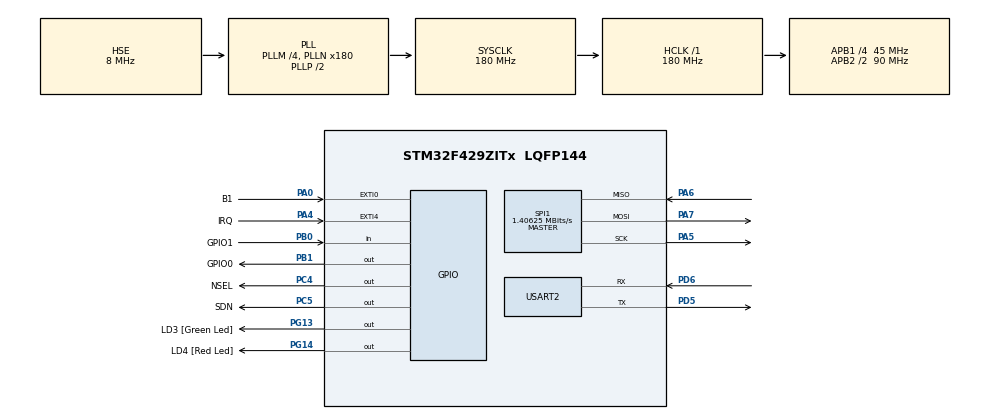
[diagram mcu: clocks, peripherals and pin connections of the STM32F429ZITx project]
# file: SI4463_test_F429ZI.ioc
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Mcu.Family=STM32F4
Mcu.Name=STM32F429ZITx
Mcu.Package=LQFP144
NVIC.EXTI0_IRQn=true\:5\:0\:true\:false\:true\:true\:true\:true
NVIC.EXTI4_IRQn=true\:5\:0\:true\:false\:true\:true\:true\:true
NVIC.PriorityGroup=NVIC_PRIORITYGROUP_4
NVIC.USART2_IRQn=true\:5\:0\:true\:false\:true\:true\:true\:true
PA0/WKUP.GPIO_Label=B1
PA0/WKUP.Signal=GPXTI0
PA13.Mode=Serial_Wire
PA13.Signal=SYS_JTMS-SWDIO
PA14.Mode=Serial_Wire
PA14.Signal=SYS_JTCK-SWCLK
PA4.GPIO_Label=IRQ
PA4.GPIO_ModeDefaultEXTI=GPIO_MODE_IT_FALLING
PA4.GPIO_PuPd=GPIO_NOPULL
PA4.Signal=GPXTI4
PA5.GPIO_PuPd=GPIO_PULLDOWN
PA5.Mode=Full_Duplex_Master
PA5.Signal=SPI1_SCK
PA6.GPIO_PuPd=GPIO_NOPULL
PA6.Mode=Full_Duplex_Master
PA6.Signal=SPI1_MISO
PA7.GPIO_PuPd=GPIO_NOPULL
PA7.Mode=Full_Duplex_Master
PA7.Signal=SPI1_MOSI
PB0.GPIO_Label=GPIO1
PB0.GPIO_PuPd=GPIO_NOPULL
PB0.Signal=GPIO_Input
PB1.GPIO_Label=GPIO0
PB1.Signal=GPIO_Output
PC4.GPIO_Label=NSEL
PC4.GPIO_PuPd=GPIO_PULLUP
PC4.PinState=GPIO_PIN_SET
PC4.Signal=GPIO_Output
PC5.GPIO_Label=SDN
PC5.GPIO_PuPd=GPIO_NOPULL
PC5.Signal=GPIO_Output
PD5.Mode=Asynchronous
PD5.Signal=USART2_TX
PD6.Mode=Asynchronous
PD6.Signal=USART2_RX
PG13.GPIO_Label=LD3 [Green Led]
PG13.GPIO_Mode=GPIO_MODE_OUTPUT_PP
PG13.GPIO_PuPd=GPIO_NOPULL
PG13.GPIO_Speed=GPIO_SPEED_FREQ_LOW
PG13.Signal=GPIO_Output
PG14.GPIO_Label=LD4 [Red Led]
PG14.GPIO_Mode=GPIO_MODE_OUTPUT_PP
PG14.GPIO_PuPd=GPIO_NOPULL
PG14.GPIO_Speed=GPIO_SPEED_FREQ_LOW
PG14.Signal=GPIO_Output
PH0/OSC_IN.Mode=HSE-External-Oscillator
PH0/OSC_IN.Signal=RCC_OSC_IN
PH1/OSC_OUT.Mode=HSE-External-Oscillator
PH1/OSC_OUT.Signal=RCC_OSC_OUT
ProjectManager.HeapSize=0x200
ProjectManager.StackSize=0x400
ProjectManager.TargetToolchain=STM32CubeIDE
RCC.48MHZClocksFreq_Value=51428571.428571425
RCC.AHBFreq_Value=180000000
RCC.APB1CLKDivider=RCC_HCLK_DIV4
RCC.APB1Freq_Value=45000000
RCC.APB1TimFreq_Value=90000000
RCC.APB2CLKDivider=RCC_HCLK_DIV2
RCC.APB2Freq_Value=90000000
RCC.APB2TimFreq_Value=180000000
RCC.CortexFreq_Value=180000000
RCC.HCLKFreq_Value=180000000
RCC.HSE_VALUE=8000000
RCC.HSI_VALUE=16000000
RCC.LSE_VALUE=32768
RCC.PLLM=4
RCC.PLLN=180
RCC.PLLQ=7
RCC.PLLSourceVirtual=RCC_PLLSOURCE_HSE
RCC.SYSCLKFreq_VALUE=180000000
RCC.SYSCLKSource=RCC_SYSCLKSOURCE_PLLCLK
RCC.VCOOutputFreq_Value=360000000
SPI1.BaudRatePrescaler=SPI_BAUDRATEPRESCALER_64
SPI1.CLKPolarity=SPI_POLARITY_LOW
SPI1.CalculateBaudRate=1.40625 MBits/s
SPI1.Direction=SPI_DIRECTION_2LINES
SPI1.Mode=SPI_MODE_MASTER
SPI1.VirtualType=VM_MASTER
TIM1.Prescaler=180-1
TIM2.Prescaler=90-1
USART2.VirtualMode=VM_ASYNC
VP_TIM1_VS_ClockSourceINT.Mode=Internal
VP_TIM2_VS_ClockSourceINT.Mode=Internal
board=STM32F429I-DISC1

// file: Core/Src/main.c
/* USER CODE BEGIN Header */
/**
  ******************************************************************************
  * @file           : main.c
  * @brief          : Main program body
  ******************************************************************************
  * @attention
  *
  * Copyright (c) 2023 STMicroelectronics.
  * All rights reserved.
  *
  * This software is licensed under terms that can be found in the LICENSE file
  * in the root directory of this software component.
  * If no LICENSE file comes with this software, it is provided AS-IS.
  *
  ******************************************************************************
  */
/* USER CODE END Header */
#include "main.h"

/* USER CODE BEGIN Includes */

#include <stdio.h>
#include <stdint.h>
#include <stdbool.h>
#include <string.h>
#include "si4463_huang.h"
#include "ax25_huang.h"
#include "morse_huang.h"
#include "HashTable.h"
/* USER CODE END Includes */

/* USER CODE BEGIN PD */
#ifdef __GNUC__
  #define PUTCHAR_PROTOTYPE int __io_putchar(int ch)
#else
  #define PUTCHAR_PROTOTYPE int fputc(int ch, FILE *f)
#endif /* __GNUC__ */

#define CMD_HELP                (0)
#define CMD_RESET               (1)
#define CMD_INIT                (2)
#define CMD_NOP                 (3)
#define CMD_TX                  (11)
#define CMD_CONTINUE_TX         (15)
#define CMD_RX                  (12)
#define CMD_GET                 (50)
#define CMD_SET                 (51)
#define PARAM_PART              (4)
#define PARAM_FUNC              (5)
#define PARAM_CURRSSI           (6)
#define PARAM_LATRSSI           (7)
#define PARAM_INTS              (10)
#define PARAM_TXPWR             (13)
#define PARAM_PREAMBLE          (14)
#define PARAM_SYNCWORD          (20)
#define PARAM_CRC               (30)
#define PARAM_FREQUENCY         (31)
#define PARAM_MODULATION        (32)
#define PARAM_DATARATE          (33)
#define PARAM_CRC_POLY          (34)
#define PARAM_CRC_SEED          (35)
#define PARAM_TX_MODULATION     (36)
#define PARAM_RX_MODULATION     (37)
#define PARAM_TX_DATARATE       (38)
#define PARAM_RX_DATARATE       (39)
/* USER CODE END PD */

SPI_HandleTypeDef hspi1;

TIM_HandleTypeDef htim1;
TIM_HandleTypeDef htim2;

UART_HandleTypeDef huart2;

/* USER CODE BEGIN PV */
PUTCHAR_PROTOTYPE
{
	HAL_UART_Transmit(&huart2, (uint8_t *)&ch, 1, 0xFFFF);
	return ch;
}

/* -----si4463----- */
si4463_t si4463;
bool irqFlag = false;

/* -----Command Line----- */
Hash_Table* ht;
typedef struct
{
	uint8_t temp[30];
	uint8_t cmd[10];
	uint8_t param[50];
	uint8_t param2[30];
	uint8_t cmdLen;
	uint8_t paramLen;
	uint8_t paramLen2;
}rxCmd;
rxCmd myRxCmd;
uint8_t pos = 0;
uint8_t rxData = 0;
volatile uint8_t uartFlag = 0;
volatile uint8_t strFlag = 0;
volatile uint8_t cmdFlag = 0;
volatile uint8_t rxFlag = 0;

/* -----AX.25 Frame ----- */
ax25frame_t ax25frame;
morse_t morse;
/* USER CODE END PV */

void SystemClock_Config(void);
static void MX_GPIO_Init(void);
static void MX_SPI1_Init(void);
static void MX_USART2_UART_Init(void);
static void MX_TIM1_Init(void);
static void MX_TIM2_Init(void);
/* USER CODE BEGIN PFP */
void si4463MenuDisplay(void);
void initHashTable(void);
uint8_t si4463_SPI_Write(uint8_t* pTxData, uint8_t dataLen, uint32_t timeout);
uint8_t si4463_SPI_Read(uint8_t* pRxData, uint8_t dataLen, uint32_t timeout);
uint8_t si4463_SPI_WriteRead(uint8_t* pTxData, uint8_t* pRxData, uint8_t dataLen, uint32_t timeout);
uint8_t si4463_SPI_CheckState(void);
void si4463_DelayUs(uint32_t delay);
void si4463_setNSEL(bool val);
void si4463_setSDN(bool val);
void si4463_setOOK(bool val);
bool si4463_getIRQ(void);
bool si4463_getGPIO1(void);

void morse_resetToNow(timerange_t*);
uint32_t morse_millisecondsElapsed(timerange_t*);
uint32_t morse_secondsElapsed(timerange_t*);
/* USER CODE END PFP */

/* USER CODE BEGIN 0 */

void HAL_UART_RxCpltCallback(UART_HandleTypeDef *huart)
{
	if (huart->Instance == USART2)
	{
		/* Enabling interrupt receive again */
		HAL_UART_Receive_IT(&huart2,(uint8_t*)&rxData,1);
		switch(rxData)
		{
		case ' ':
			// first space
			if(uartFlag == 0 && strFlag == 0)
			{
				// clear array
				if(myRxCmd.cmdLen)
					memset(myRxCmd.cmd, '\0', myRxCmd.cmdLen);
				memcpy(myRxCmd.cmd, myRxCmd.temp, pos + 1);
				memset(myRxCmd.temp, '\0', pos + 1);
				myRxCmd.cmdLen = pos + 1;
				pos = 0;
				uartFlag++;
				printf(" ");
			}
			// second space
			else if(uartFlag == 1 && strFlag == 0)
			{
				// clear array
				if(myRxCmd.paramLen)
					memset(myRxCmd.param, '\0', myRxCmd.paramLen);
				memcpy(myRxCmd.param, myRxCmd.temp, pos + 1);
				memset(myRxCmd.temp, '\0', pos + 1);
				myRxCmd.paramLen = pos + 1;
				pos = 0;
				uartFlag++;
				printf(" ");
			}
			if(strFlag == 1)
			{
				myRxCmd.temp[pos] = rxData;
				pos++;
				printf(" ");
			}

			break;
		case '\"':
			if(uartFlag == 1)
			{
				if(strFlag) strFlag = 0;
				else strFlag = 1;
				printf("\"");
			}
			break;
		case '\r':
			// two parameter
			if(uartFlag == 2)
			{
				// clear array
				if(myRxCmd.paramLen2)
					memset(myRxCmd.param2, '\0', myRxCmd.paramLen2);
				memcpy(myRxCmd.param2, myRxCmd.temp, pos + 1);
				myRxCmd.paramLen2 = pos + 1;
			}
			// one parameter
			else if(uartFlag == 1)
			{
				// clear array
				if(myRxCmd.paramLen)
					memset(myRxCmd.param, '\0', myRxCmd.paramLen);
				memcpy(myRxCmd.param, myRxCmd.temp, pos + 1);
				myRxCmd.paramLen = pos + 1;
			}
			else
			{
				// clear array
				if(myRxCmd.cmdLen)
					memset(myRxCmd.cmd, '\0', myRxCmd.cmdLen);
				memcpy(myRxCmd.cmd, myRxCmd.temp, pos + 1);
				myRxCmd.cmdLen = pos + 1;
			}
			memset(myRxCmd.temp, '\0', pos + 1);
			pos = 0;
			uartFlag = 0;
			/* Start execute command */
			cmdFlag = 1;
			printf("\r\n");
			break;
		default:
			myRxCmd.temp[pos] = rxData;
			pos++;
			printf("%c", rxData);
		}
	}
}

void HAL_GPIO_EXTI_Callback(uint16_t GPIO_Pin)
{
	if(GPIO_Pin == B1_Pin)
	{
		printf("Button interrupt !\r\n");
		si4463_getInterrupts(&si4463);
		printf("Current RSSI: %d\r\n", si4463_getCurrentRSSI(&si4463));
		irqFlag = true;
	}
	if(GPIO_Pin == IRQ_Pin)
	{
		irqFlag = true;
	}
}
/* USER CODE END 0 */

int main(void)
{

  /* MCU Configuration--------------------------------------------------------*/

  /* Reset of all peripherals, Initializes the Flash interface and the Systick. */
  HAL_Init();

  /* Configure the system clock */
  SystemClock_Config();

  /* Initialize all configured peripherals */
  MX_GPIO_Init();
  MX_SPI1_Init();
  MX_USART2_UART_Init();
  MX_TIM1_Init();
  MX_TIM2_Init();
  /* USER CODE BEGIN 2 */

  HAL_TIM_Base_Start(&htim1); // us delay timer
  HAL_TIM_Base_Start(&htim2); // us delay timer

  HAL_UART_Receive_IT(&huart2,(uint8_t*)&rxData,1); // Enabling interrupt receive again
    //HAL_I2C_Slave_Receive_IT(&hi2c1, isr_rxData, SLAVE_RX_BUFFER_SIZE);
    initHashTable();

	si4463.SPI_Write = si4463_SPI_Write;
	si4463.SPI_Read = si4463_SPI_Read;
	si4463.SPI_WriteRead = si4463_SPI_WriteRead;
	si4463.SPI_CheckState = si4463_SPI_CheckState;
	si4463.spi_state_ready = HAL_SPI_STATE_READY;
	si4463.DelayUs = si4463_DelayUs;
	si4463.NSEL = si4463_setNSEL;
	si4463.SDN = si4463_setSDN;
	si4463.OOK = si4463_setOOK;
	si4463.gpios.IRQ = si4463_getIRQ;
	si4463.gpios.GPIO1 = si4463_getGPIO1;
	si4463.gpios.gpio_low = GPIO_PIN_RESET;
	si4463.gpios.gpio_high = GPIO_PIN_SET;

	morse.time.resetToNow = morse_resetToNow;
	morse.time.millisecondsElapsed = morse_millisecondsElapsed;
	morse.time.secondsElapsed = morse_secondsElapsed;
	//HAL_NVIC_DisableIRQ(EXTI4_IRQn);
	/* Initialize si4463 */
	int res = si4463_init(&si4463);
	if(res == SI4463_OK)
		printf("Si4463 init .. ok !\r\n");
	else
		printf("Si4463 init .. fail ! error code: %d\r\n", res);

	si4463_getPartInfo(&si4463);
	si4463_getFuncInfo(&si4463);

	/* Functional test: Packet generator send data to packet parser.
	 * AX.25 -> HDLC -> NRZI -> G3RUH
	 * G3RUH -> NRZI -> HDLC -> AX.25*/
	char testInfo[] = "What is 'X' SATORO ??";
	uint8_t control = RADIOLIB_AX25_CONTROL_U_UNNUMBERED_INFORMATION | RADIOLIB_AX25_CONTROL_POLL_FINAL_DISABLED | RADIOLIB_AX25_CONTROL_UNNUMBERED_FRAME;
	ax25sendframe_t* testsendframe = createAX25SendFrame("STARL", 0, "NCKU", 0, control, RADIOLIB_AX25_PID_NO_LAYER_3, (uint8_t*)testInfo, strlen(testInfo), 8);
	ax25frame.ax25SendFrame = testsendframe;
	uint16_t testhdlcLen = 0;
	uint8_t* testhdlcbuff;
	uint8_t pres = AX25Frame_HDLC_Generator(&ax25frame, &testhdlcbuff, &testhdlcLen);
	if(!pres)
	{
		printf("Generate AX.25 frame .. success ! \r\n");
		printf("AX.25/HDLC frame\r\n");
		printf("packet: ");
		for(int i = 0; i <  testhdlcLen; i++)
			printf("0x%02x ", testhdlcbuff[i]);
		printf("\r\n");
	}
	else
		printf("Generate AX.25 frame .. fail ! \r\n");
	ax25_nrzi_encode(testhdlcbuff, testhdlcbuff, testhdlcLen);
	printf("NRZI encode\r\n");
	printf("packet: ");
	for(int i = 0; i <  testhdlcLen; i++)
		printf("0x%02x ", testhdlcbuff[i]);
	printf("\r\n");
	ax25_g3ruh_scrambler_init(0x21000UL);
	ax25_g3ruh_scrambler(testhdlcbuff, testhdlcbuff, testhdlcLen);
	printf("G3RUH scramble\r\n");
	printf("packet: ");
	for(int i = 0; i <  testhdlcLen; i++)
		printf("0x%02x ", testhdlcbuff[i]);
	printf("\r\n");

	ax25_g3ruh_scrambler_init(0x21000UL);
	ax25_g3ruh_descrambler(testhdlcbuff, testhdlcbuff, testhdlcLen);
	printf("G3RUH descramble\r\n");
	printf("packet: ");
	for(int i = 0; i <  testhdlcLen; i++)
		printf("0x%02x ", testhdlcbuff[i]);
	printf("\r\n");

	ax25_nrzi_decode(testhdlcbuff, testhdlcbuff, testhdlcLen);
	printf("NRZI decode\r\n");
	printf("packet: ");
	for(int i = 0; i <  testhdlcLen; i++)
		printf("0x%02x ", testhdlcbuff[i]);
	printf("\r\n");

	ax25receiveframe_t* testrcvframe = createAX25ReceiveFrame("STARL", 0, "NCKU", 0, control, RADIOLIB_AX25_PID_NO_LAYER_3, 8);
	ax25frame.ax25RcvFrame = testrcvframe;

	pres = AX25Frame_HDLC_Parser(&ax25frame, testhdlcbuff, testhdlcLen);
	if(!pres)
		printf("Parse AX.25 frame .. success ! \r\n");
	else
		printf("Parse AX.25 frame .. fail !  CRC Error !\r\n");

	printf("AX.25/HDLC frame information:\r\n");
	printf("From %s to %s ", ax25frame.ax25RcvFrame->srcCallsign, ax25frame.ax25RcvFrame->destCallsign);
	printf("<Control: %d, PID: %02X, Length: %d> \r\n", ax25frame.ax25RcvFrame->control, ax25frame.ax25RcvFrame->protocolID, ax25frame.ax25RcvFrame->infoLen);
	printf("Message: %s \r\n", ax25frame.ax25RcvFrame->info);
	printf("\r\n");
	//HAL_NVIC_EnableIRQ(EXTI4_IRQn);
	uint8_t rxDataLen = 0;
	uint8_t rxData[100] = {0};
	int cmdCode = -1;
	int paramCode = -1;
  /* USER CODE END 2 */

  /* Infinite loop */
  /* USER CODE BEGIN WHILE */
  while (1)
  {

	if(rxFlag)
	{
		if(si4463.gpios.IRQ() == si4463.gpios.gpio_low)
		{
			printf("RSSI: %d\r\n", si4463_getLatchRSSI(&si4463));
			si4463_getInterrupts(&si4463);
			res = si4463_getRxFifoInfo(&si4463);
			if(res > 0)
			{
				rxDataLen = res;
				res = si4463_receive(&si4463, rxData, rxDataLen);

				if(res == SI4463_OK)
				{
					printf("Receive .. ok !\r\n");
					printf("Message: ");
					for(int i = 0;i < rxDataLen; i++)
					{
						printf("0x%02x ", rxData[i]);
					}
					printf("\r\n");
					memset(rxData, '\0', rxDataLen);

//					ax25_g3ruh_descrambler(rxData, rxData, rxDataLen);
//					ax25_nrzi_decode(rxData, rxData, rxDataLen);
//					ax25receiveframe_t* rcvframe = createAX25ReceiveFrame("STARL", 0, "NCKU", 0, control, RADIOLIB_AX25_PID_NO_LAYER_3, 8);
//					ax25frame.ax25RcvFrame = rcvframe;
//
//					pres = AX25Frame_HDLC_Parser(&ax25frame, rxData, rxDataLen);
//					if(!pres)
//						printf("Parse AX.25 frame .. success ! \r\n");
//					else
//						printf("Parse AX.25 frame .. fail !  CRC Error !\r\n");
//
//					printf("AX.25/HDLC frame information:\r\n");
//					printf("From %s to %s ", ax25frame.ax25RcvFrame->srcCallsign, ax25frame.ax25RcvFrame->destCallsign);
//					printf("<Control: %d, PID: %02X, Length: %d> \r\n", ax25frame.ax25RcvFrame->control, ax25frame.ax25RcvFrame->protocolID, ax25frame.ax25RcvFrame->infoLen);
//					printf("Message: %s \r\n", ax25frame.ax25RcvFrame->info);
//					printf("\r\n");

				}
				else
					printf("Receive .. fail ! error code: %d\r\n", res);
			}
			else
			{
				printf("Get Rx FiFO info .. fail ! error code: %d\r\n", res);
			}
		}
	}

	if(cmdFlag)
	{
		cmdCode = HT_searchKey(ht, (char*)&myRxCmd.cmd[0]);
		paramCode = HT_searchKey(ht, (char*)&myRxCmd.param[0]);
//		param2Code = HT_searchKey(ht, (char*)&myRxCmd.param2[0]);
		switch(cmdCode)
		{
		case CMD_HELP:
			si4463MenuDisplay();
			break;
		case CMD_RESET:
			res = si4463_powerOnReset(&si4463);
			if(res == SI4463_OK)
				printf("Si4463 power on reset .. ok !\r\n");
			else
				printf("Si4463 power on reset .. fail ! error code: %d\r\n", res);
			break;
		case CMD_INIT:
			res = si4463_init(&si4463);
			if(res == SI4463_OK)
				printf("Si4463 init .. ok !\r\n");
			else
				printf("Si4463 init .. fail ! error code: %d\r\n", res);
			break;
		case CMD_TX:
			if(myRxCmd.paramLen > 0)
			{
				if(si4463.settings.txMod != MOD_OOK)
				{
					uint8_t control = RADIOLIB_AX25_CONTROL_U_UNNUMBERED_INFORMATION | RADIOLIB_AX25_CONTROL_POLL_FINAL_DISABLED | RADIOLIB_AX25_CONTROL_UNNUMBERED_FRAME;
					ax25sendframe_t* ax25sendframe = createAX25SendFrame("STARL", 0, "NCKU", 0, control, RADIOLIB_AX25_PID_NO_LAYER_3, (uint8_t*)myRxCmd.param, myRxCmd.paramLen - 1, 8);
					ax25frame.ax25SendFrame = ax25sendframe;
					uint16_t hdlcLen = 0;
					uint8_t* hdlcbuff;
					uint8_t pres = AX25Frame_HDLC_Generator(&ax25frame, &hdlcbuff, &hdlcLen);
					if(!pres)
					{
						ax25_nrzi_encode(hdlcbuff, hdlcbuff, hdlcLen);
						ax25_g3ruh_scrambler_init(0x21000UL);
						ax25_g3ruh_scrambler(hdlcbuff, hdlcbuff, hdlcLen);

						res = si4463_transmit(&si4463, hdlcbuff, hdlcLen, STATE_NO_CHANGE);
						if(res == SI4463_OK)
						{
							printf("Si4463 Transmit .. ok !\r\n");
							printf("packet: ");
							for(int i = 0; i <  hdlcLen; i++)
								printf("0x%02x ", hdlcbuff[i]);
							printf("\r\n");
						}
						else
							printf("Si4463 Transmit .. fail ! error code: %d\r\n", res);
					}
					else
					{
						printf("Tx error ! error code: %d", pres);
					}
				}
				// OOK transmission
				else
				{
					morse_setText(&morse, (char*)myRxCmd.param);
					morse_start(&morse);
					si4463_startTx(&si4463, 0, STATE_NO_CHANGE);
					while(morse.currentState != msEndOfText)
					{
						// We give CPU time to morse subsystem.
						morse_handleTimeout(&morse);
						bool toneOn = morse_isToneActive(&morse);
						si4463_controlOOK(&si4463, toneOn);
					}
					printf("Sending Morse code.. Complete !\r\n");
				}
			}
			else
			{
				printf("Invalid packets ! \r\n");
			}
			break;
		case CMD_CONTINUE_TX:
			printf("TBD \r\n");
			break;
		case CMD_RX:
			res = si4463_initRx(&si4463, 0, STATE_RX, STATE_RX, STATE_RX);
			if(res == SI4463_OK)
			{
				printf("Start Rx .. ok !\r\n");
				rxFlag = 1;
			}
			else
				printf("Start Rx .. fail ! error code: %d\r\n", res);
			break;
		case CMD_NOP:
			res = si4463_checkNop(&si4463);
			if(res == SI4463_OK)
				printf("Si4463 has responded !\r\n");
			else
				printf("Si4463 NOP .. fail ! error code: %d\r\n", res);
			break;
		case CMD_SET:
			if(paramCode == PARAM_TXPWR)
			{
				int txpwr = atoi((char*)myRxCmd.param2);
				if(txpwr > 0)
				{
					res = si4463_setTxPower(&si4463, txpwr);
					if(res == SI4463_OK)
					{
						printf("Set Tx power .. ok !\r\n");
						printf("Get Tx power %d \r\n", si4463_getTxPower(&si4463));
					}
					else
						printf("Set Tx power .. fail ! error code: %d\r\n", res);
				}
				else
				{
					printf("Invalid parameter ! \r\n");
				}
			}
			else if(paramCode == PARAM_PREAMBLE)
			{
				int preamble = atoi((char*)myRxCmd.param2);
				if(preamble > 0)
				{
					res = si4463_setPreamble(&si4463, preamble);
					if(res == SI4463_OK)
					{
						printf("Set Tx preamble .. ok !\r\n");
						printf("Get Tx preamble %d \r\n", si4463_getPreamble(&si4463));
					}
					else
						printf("Set Tx power .. fail ! error code: %d\r\n", res);
				}
				else
				{
					printf("Invalid parameter ! \r\n");
				}
			}
			else if(paramCode == PARAM_SYNCWORD)
			{
				printf("TBD \r\n");
			}
			else if(paramCode == PARAM_CRC_POLY)
			{
				int poly = atoi((char*)myRxCmd.param2);
				if(poly > 0)
				{
					res = si4463_setCRC(&si4463, si4463.settings.crcSeed, poly);
					if(res == SI4463_OK)
					{
						si4463_getCRC(&si4463);
						printf("Set CRC polynomial .. ok !\r\n");
						printf("Get CRC polynomial %d \r\n", si4463.settings.crcPoly);
					}
					else
						printf("Set Tx power .. fail ! error code: %d\r\n", res);
				}
				else
				{
					printf("Invalid parameter ! \r\n");
				}
			}
			else if(paramCode == PARAM_CRC_SEED)
			{
				int seed = atoi((char*)myRxCmd.param2);
				if(seed == 0 || seed == 1)
				{
					res = si4463_setCRC(&si4463, seed, si4463.settings.crcPoly);
					if(res == SI4463_OK)
					{
						si4463_getCRC(&si4463);
						printf("Set CRC polynomial .. ok !\r\n");
						printf("Get CRC polynomial %d \r\n", si4463.settings.crcSeed);
					}
					else
						printf("Set Tx power .. fail ! error code: %d\r\n", res);
				}
				else
				{
					printf("Invalid parameter ! \r\n");
				}
			}
			else if(paramCode == PARAM_FREQUENCY)
			{
				int freq = atoi((char*)myRxCmd.param2);
				if(freq >= 400000000 && freq < 436000000)
				{
					res = si4463_setFrequency(&si4463, freq);
					if(res == SI4463_OK)
					{
						printf("Set frequency .. ok !\r\n");
						printf("Get frequency %ld \r\n", si4463_getFrequency(&si4463));
					}
					else
						printf("Set Tx power .. fail ! error code: %d\r\n", res);
				}
				else
				{
					printf("Invalid parameter ! \r\n");
				}
			}
			else if(paramCode == PARAM_TX_MODULATION)
			{
				int txmod = atoi((char*)myRxCmd.param2);
				if(txmod >= 0)
				{
					res = si4463_setTxModulation(&si4463, txmod);
					if(res == SI4463_OK)
					{
						printf("Set Tx modulation .. ok !\r\n");
						printf("Get Tx modulation %d \r\n", si4463.settings.txMod);
					}
					else
						printf("Set Tx modulation .. fail ! error code: %d\r\n", res);
				}
				else
				{
					printf("Invalid parameter ! \r\n");
				}
			}
			else if(paramCode == PARAM_RX_MODULATION)
			{
				int rxmod = atoi((char*)myRxCmd.param2);
				if(rxmod >= 0)
				{
					res = si4463_setRxModulation(&si4463, rxmod);
					if(res == SI4463_OK)
					{
						printf("Set Rx modulation .. ok !\r\n");
						printf("Get Rx modulation %d \r\n", si4463.settings.rxMod);
					}
					else
						printf("Set Rx modulation .. fail ! error code: %d\r\n", res);
				}
				else
				{
					printf("Invalid parameter ! \r\n");
				}
			}
			else if(paramCode == PARAM_TX_DATARATE)
			{
				int txdr = atoi((char*)myRxCmd.param2);
				if(txdr >= 0)
				{
					res = si4463_setTxDataRate(&si4463, txdr);
					if(res == SI4463_OK)
					{
						printf("Set Tx data rate .. ok !\r\n");
						printf("Get Tx data rate %d \r\n", si4463.settings.txDataRate);
					}
					else
						printf("Set Tx data rate .. fail ! error code: %d\r\n", res);
				}
				else
				{
					printf("Invalid parameter ! \r\n");
				}
			}
			else if(paramCode == PARAM_RX_DATARATE)
			{
				int rxdr = atoi((char*)myRxCmd.param2);
				if(rxdr >= 0)
				{
					res = si4463_setRxDataRate(&si4463, rxdr);
					if(res == SI4463_OK)
					{
						printf("Set Rx data rate .. ok !\r\n");
						printf("Get Rx data rate %d \r\n", si4463.settings.rxDataRate);
					}
					else
						printf("Set Rx data rate .. fail ! error code: %d\r\n", res);
				}
				else
				{
					printf("Invalid parameter ! \r\n");
				}
			}
			else
			{
				printf("Invalid parameter ! \r\n");
			}
			break;
		case CMD_GET:
			if(paramCode == PARAM_PART)
			{
				res = si4463_getPartInfo(&si4463);
				if(res == SI4463_OK)
					printf("Si4463 get part info .. ok !\r\n");
				else
					printf("Si4463 get part info .. fail ! error code: %d\r\n", res);
			}
			else if(paramCode == PARAM_FUNC)
			{
				res = si4463_getFuncInfo(&si4463);
				if(res == SI4463_OK)
					printf("Si4463 get function info .. ok !\r\n");
				else
					printf("Si4463 get function info .. fail ! error code: %d\r\n", res);
			}
			else if(paramCode == PARAM_CURRSSI)
			{
				res = si4463_getCurrentRSSI(&si4463);
				if(res < -12)
					printf("Si4463 get current RSSI: %d\r\n", res);
				else
					printf("Si4463 get current RSSI .. fail ! error code: %d\r\n", res);
			}
			else if(paramCode == PARAM_LATRSSI)
			{
				res = si4463_getLatchRSSI(&si4463);
				if(res < -12)
					printf("Si4463 get latch RSSI: %d\r\n", res);
				else
					printf("Si4463 get latch RSSI .. fail ! error code: %d\r\n", res);
			}
			else if(paramCode == PARAM_INTS)
			{
				res = si4463_getInterrupts(&si4463);
				if(res == SI4463_OK)
					printf("Si4463 get interrupts' info .. ok !\r\n");
				else
					printf("Si4463 get interrupts' info .. fail ! error code: %d\r\n", res);
			}
			else if(paramCode == PARAM_TXPWR)
			{
				res = si4463_getTxPower(&si4463);
				if(res >= 0)
					printf("Si4463 get Tx power: %d\r\n", res);
				else
					printf("Si4463 get Tx power .. fail ! error code: %d\r\n", res);
			}
			else if(paramCode == PARAM_PREAMBLE)
			{
				res = si4463_getPreamble(&si4463);
				if(res >= 0)
					printf("Si4463 get preamble: %d\r\n", res);
				else
					printf("Si4463 get preamble .. fail ! error code: %d\r\n", res);
			}
			else if(paramCode == PARAM_SYNCWORD)
			{
				res = si4463_getSyncWords(&si4463);
				if(res >= 0)
				{
					printf("Si4463 get sync words: ");
					for(int i = 0; i < res; i++)
					{
						printf("0x%02x ", si4463.settings.syncWords[i]);
					}
					printf("\r\n");
				}
				else
					printf("Si4463 get sync words .. fail ! error code: %d\r\n", res);
			}
			else if(paramCode == PARAM_CRC)
			{
				res = si4463_getCRC(&si4463);
				if(res == SI4463_OK)
					printf("Si4463 get CRC Poly: %d, Seed: %d\r\n", si4463.settings.crcPoly, si4463.settings.crcSeed);
				else
					printf("Si4463 get CRC Poly .. fail ! error code: %d\r\n", res);
			}
			else if(paramCode == PARAM_FREQUENCY)
			{
				res = si4463_getFrequency(&si4463);
				if(res >= 0)
					printf("Si4463 get Tx/Rx frequency: %d\r\n", res);
				else
					printf("Si4463 get Tx/Rx frequency .. fail ! error code: %d\r\n", res);
			}
			else if(paramCode == PARAM_MODULATION)
			{
				res = si4463_getModulation(&si4463);
				if(res >= 0)
					printf("Si4463 get Tx modulation: %d\r\n", res);
				else
					printf("Si4463 get Tx modulation .. fail ! error code: %d\r\n", res);
			}
			else if(paramCode == PARAM_DATARATE)
			{
				res = si4463_getDataRate(&si4463);
				if(res >= 0)
					printf("Si4463 get Tx data rate: %d\r\n", res);
				else
					printf("Si4463 get Tx data rate .. fail ! error code: %d\r\n", res);
			}
			else
			{
				printf("Invalid parameter ! \r\n");
			}
			break;
		default:
			printf("Display the command menu -----------> help \r\n\r\n");
		}
		cmdFlag = 0;
	}
    /* USER CODE END WHILE */

  }
}

void SystemClock_Config(void)
{
  RCC_OscInitTypeDef RCC_OscInitStruct = {0};
  RCC_ClkInitTypeDef RCC_ClkInitStruct = {0};

  /** Configure the main internal regulator output voltage
  */
  __HAL_RCC_PWR_CLK_ENABLE();
  __HAL_PWR_VOLTAGESCALING_CONFIG(PWR_REGULATOR_VOLTAGE_SCALE1);

  /** Initializes the RCC Oscillators according to the specified parameters
  * in the RCC_OscInitTypeDef structure.
  */
  RCC_OscInitStruct.OscillatorType = RCC_OSCILLATORTYPE_HSE;
  RCC_OscInitStruct.HSEState = RCC_HSE_ON;
  RCC_OscInitStruct.PLL.PLLState = RCC_PLL_ON;
  RCC_OscInitStruct.PLL.PLLSource = RCC_PLLSOURCE_HSE;
  RCC_OscInitStruct.PLL.PLLM = 4;
  RCC_OscInitStruct.PLL.PLLN = 180;
  RCC_OscInitStruct.PLL.PLLP = RCC_PLLP_DIV2;
  RCC_OscInitStruct.PLL.PLLQ = 7;
  if (HAL_RCC_OscConfig(&RCC_OscInitStruct) != HAL_OK)
  {
    Error_Handler();
  }

  /** Activate the Over-Drive mode
  */
  if (HAL_PWREx_EnableOverDrive() != HAL_OK)
  {
    Error_Handler();
  }

  /** Initializes the CPU, AHB and APB buses clocks
  */
  RCC_ClkInitStruct.ClockType = RCC_CLOCKTYPE_HCLK|RCC_CLOCKTYPE_SYSCLK
                              |RCC_CLOCKTYPE_PCLK1|RCC_CLOCKTYPE_PCLK2;
  RCC_ClkInitStruct.SYSCLKSource = RCC_SYSCLKSOURCE_PLLCLK;
  RCC_ClkInitStruct.AHBCLKDivider = RCC_SYSCLK_DIV1;
  RCC_ClkInitStruct.APB1CLKDivider = RCC_HCLK_DIV4;
  RCC_ClkInitStruct.APB2CLKDivider = RCC_HCLK_DIV2;

  if (HAL_RCC_ClockConfig(&RCC_ClkInitStruct, FLASH_LATENCY_5) != HAL_OK)
  {
    Error_Handler();
  }
}

static void MX_SPI1_Init(void)
{

  /* SPI1 parameter configuration*/
  hspi1.Instance = SPI1;
  hspi1.Init.Mode = SPI_MODE_MASTER;
  hspi1.Init.Direction = SPI_DIRECTION_2LINES;
  hspi1.Init.DataSize = SPI_DATASIZE_8BIT;
  hspi1.Init.CLKPolarity = SPI_POLARITY_LOW;
  hspi1.Init.CLKPhase = SPI_PHASE_1EDGE;
  hspi1.Init.NSS = SPI_NSS_SOFT;
  hspi1.Init.BaudRatePrescaler = SPI_BAUDRATEPRESCALER_64;
  hspi1.Init.FirstBit = SPI_FIRSTBIT_MSB;
  hspi1.Init.TIMode = SPI_TIMODE_DISABLE;
  hspi1.Init.CRCCalculation = SPI_CRCCALCULATION_DISABLE;
  hspi1.Init.CRCPolynomial = 10;
  if (HAL_SPI_Init(&hspi1) != HAL_OK)
  {
    Error_Handler();
  }

}

static void MX_TIM1_Init(void)
{

  TIM_ClockConfigTypeDef sClockSourceConfig = {0};
  TIM_MasterConfigTypeDef sMasterConfig = {0};

  htim1.Instance = TIM1;
  htim1.Init.Prescaler = 180-1;
  htim1.Init.CounterMode = TIM_COUNTERMODE_UP;
  htim1.Init.Period = 65535;
  htim1.Init.ClockDivision = TIM_CLOCKDIVISION_DIV1;
  htim1.Init.RepetitionCounter = 0;
  htim1.Init.AutoReloadPreload = TIM_AUTORELOAD_PRELOAD_DISABLE;
  if (HAL_TIM_Base_Init(&htim1) != HAL_OK)
  {
    Error_Handler();
  }
  sClockSourceConfig.ClockSource = TIM_CLOCKSOURCE_INTERNAL;
  if (HAL_TIM_ConfigClockSource(&htim1, &sClockSourceConfig) != HAL_OK)
  {
    Error_Handler();
  }
  sMasterConfig.MasterOutputTrigger = TIM_TRGO_RESET;
  sMasterConfig.MasterSlaveMode = TIM_MASTERSLAVEMODE_DISABLE;
  if (HAL_TIMEx_MasterConfigSynchronization(&htim1, &sMasterConfig) != HAL_OK)
  {
    Error_Handler();
  }

}

static void MX_TIM2_Init(void)
{

  TIM_ClockConfigTypeDef sClockSourceConfig = {0};
  TIM_MasterConfigTypeDef sMasterConfig = {0};

  htim2.Instance = TIM2;
  htim2.Init.Prescaler = 90-1;
  htim2.Init.CounterMode = TIM_COUNTERMODE_UP;
  htim2.Init.Period = 4294967295;
  htim2.Init.ClockDivision = TIM_CLOCKDIVISION_DIV1;
  htim2.Init.AutoReloadPreload = TIM_AUTORELOAD_PRELOAD_DISABLE;
  if (HAL_TIM_Base_Init(&htim2) != HAL_OK)
  {
    Error_Handler();
  }
  sClockSourceConfig.ClockSource = TIM_CLOCKSOURCE_INTERNAL;
  if (HAL_TIM_ConfigClockSource(&htim2, &sClockSourceConfig) != HAL_OK)
  {
    Error_Handler();
  }
  sMasterConfig.MasterOutputTrigger = TIM_TRGO_RESET;
  sMasterConfig.MasterSlaveMode = TIM_MASTERSLAVEMODE_DISABLE;
  if (HAL_TIMEx_MasterConfigSynchronization(&htim2, &sMasterConfig) != HAL_OK)
  {
    Error_Handler();
  }

}

static void MX_USART2_UART_Init(void)
{

  huart2.Instance = USART2;
  huart2.Init.BaudRate = 115200;
  huart2.Init.WordLength = UART_WORDLENGTH_8B;
  huart2.Init.StopBits = UART_STOPBITS_1;
  huart2.Init.Parity = UART_PARITY_NONE;
  huart2.Init.Mode = UART_MODE_TX_RX;
  huart2.Init.HwFlowCtl = UART_HWCONTROL_NONE;
  huart2.Init.OverSampling = UART_OVERSAMPLING_16;
  if (HAL_UART_Init(&huart2) != HAL_OK)
  {
    Error_Handler();
  }

}

static void MX_GPIO_Init(void)
{
  GPIO_InitTypeDef GPIO_InitStruct = {0};

  /* GPIO Ports Clock Enable */
  __HAL_RCC_GPIOH_CLK_ENABLE();
  __HAL_RCC_GPIOA_CLK_ENABLE();
  __HAL_RCC_GPIOC_CLK_ENABLE();
  __HAL_RCC_GPIOB_CLK_ENABLE();
  __HAL_RCC_GPIOD_CLK_ENABLE();
  __HAL_RCC_GPIOG_CLK_ENABLE();

  /*Configure GPIO pin Output Level */
  HAL_GPIO_WritePin(NSEL_GPIO_Port, NSEL_Pin, GPIO_PIN_SET);

  /*Configure GPIO pin Output Level */
  HAL_GPIO_WritePin(SDN_GPIO_Port, SDN_Pin, GPIO_PIN_RESET);

  /*Configure GPIO pin Output Level */
  HAL_GPIO_WritePin(GPIO0_GPIO_Port, GPIO0_Pin, GPIO_PIN_RESET);

  /*Configure GPIO pin Output Level */
  HAL_GPIO_WritePin(GPIOG, LD3_Pin|LD4_Pin, GPIO_PIN_RESET);

  /*Configure GPIO pin : B1_Pin */
  GPIO_InitStruct.Pin = B1_Pin;
  GPIO_InitStruct.Mode = GPIO_MODE_IT_RISING;
  GPIO_InitStruct.Pull = GPIO_NOPULL;
  HAL_GPIO_Init(B1_GPIO_Port, &GPIO_InitStruct);

  /*Configure GPIO pin : IRQ_Pin */
  GPIO_InitStruct.Pin = IRQ_Pin;
  GPIO_InitStruct.Mode = GPIO_MODE_IT_FALLING;
  GPIO_InitStruct.Pull = GPIO_NOPULL;
  HAL_GPIO_Init(IRQ_GPIO_Port, &GPIO_InitStruct);

  /*Configure GPIO pin : NSEL_Pin */
  GPIO_InitStruct.Pin = NSEL_Pin;
  GPIO_InitStruct.Mode = GPIO_MODE_OUTPUT_PP;
  GPIO_InitStruct.Pull = GPIO_PULLUP;
  GPIO_InitStruct.Speed = GPIO_SPEED_FREQ_LOW;
  HAL_GPIO_Init(NSEL_GPIO_Port, &GPIO_InitStruct);

  /*Configure GPIO pin : SDN_Pin */
  GPIO_InitStruct.Pin = SDN_Pin;
  GPIO_InitStruct.Mode = GPIO_MODE_OUTPUT_PP;
  GPIO_InitStruct.Pull = GPIO_NOPULL;
  GPIO_InitStruct.Speed = GPIO_SPEED_FREQ_LOW;
  HAL_GPIO_Init(SDN_GPIO_Port, &GPIO_InitStruct);

  /*Configure GPIO pin : GPIO1_Pin */
  GPIO_InitStruct.Pin = GPIO1_Pin;
  GPIO_InitStruct.Mode = GPIO_MODE_INPUT;
  GPIO_InitStruct.Pull = GPIO_NOPULL;
  HAL_GPIO_Init(GPIO1_GPIO_Port, &GPIO_InitStruct);

  /*Configure GPIO pin : GPIO0_Pin */
  GPIO_InitStruct.Pin = GPIO0_Pin;
  GPIO_InitStruct.Mode = GPIO_MODE_OUTPUT_PP;
  GPIO_InitStruct.Pull = GPIO_NOPULL;
  GPIO_InitStruct.Speed = GPIO_SPEED_FREQ_LOW;
  HAL_GPIO_Init(GPIO0_GPIO_Port, &GPIO_InitStruct);

  /*Configure GPIO pins : LD3_Pin LD4_Pin */
  GPIO_InitStruct.Pin = LD3_Pin|LD4_Pin;
  GPIO_InitStruct.Mode = GPIO_MODE_OUTPUT_PP;
  GPIO_InitStruct.Pull = GPIO_NOPULL;
  GPIO_InitStruct.Speed = GPIO_SPEED_FREQ_LOW;
  HAL_GPIO_Init(GPIOG, &GPIO_InitStruct);

  /* EXTI interrupt init*/
  HAL_NVIC_SetPriority(EXTI0_IRQn, 5, 0);
  HAL_NVIC_EnableIRQ(EXTI0_IRQn);

  HAL_NVIC_SetPriority(EXTI4_IRQn, 5, 0);
  HAL_NVIC_EnableIRQ(EXTI4_IRQn);

}

/* USER CODE BEGIN 4 */
uint8_t si4463_SPI_Write(uint8_t* pTxData, uint8_t dataLen, uint32_t timeout)
{
	return HAL_SPI_Transmit(&hspi1, pTxData, dataLen, timeout);
}

uint8_t si4463_SPI_Read(uint8_t* pRxData, uint8_t dataLen, uint32_t timeout)
{
	return HAL_SPI_Receive(&hspi1, pRxData, dataLen, timeout);
}

uint8_t si4463_SPI_WriteRead(uint8_t* pTxData, uint8_t* pRxData, uint8_t dataLen, uint32_t timeout)
{
	return HAL_SPI_TransmitReceive(&hspi1, pTxData, pRxData, dataLen, timeout);
}

uint8_t si4463_SPI_CheckState(void)
{
	return HAL_SPI_GetState(&hspi1);
}

void si4463_DelayUs(uint32_t delay)
{
	__HAL_TIM_SET_COUNTER(&htim1, 0);
	while((__HAL_TIM_GET_COUNTER(&htim1)) < delay);
}

void si4463_setNSEL(bool val)
{
	if(val == true)
		HAL_GPIO_WritePin(NSEL_GPIO_Port, NSEL_Pin, GPIO_PIN_SET);
	else
		HAL_GPIO_WritePin(NSEL_GPIO_Port, NSEL_Pin, GPIO_PIN_RESET);
}

void si4463_setSDN(bool val)
{
	if(val == true)
		HAL_GPIO_WritePin(SDN_GPIO_Port, SDN_Pin, GPIO_PIN_SET);
	else
		HAL_GPIO_WritePin(SDN_GPIO_Port, SDN_Pin, GPIO_PIN_RESET);
}

void si4463_setOOK(bool val)
{
	if(val == true)
		HAL_GPIO_WritePin(GPIO0_GPIO_Port, GPIO0_Pin, GPIO_PIN_SET);
	else
		HAL_GPIO_WritePin(GPIO0_GPIO_Port, GPIO0_Pin, GPIO_PIN_RESET);
}

bool si4463_getIRQ(void)
{
	return HAL_GPIO_ReadPin(IRQ_GPIO_Port, IRQ_Pin);
}

bool si4463_getGPIO1(void)
{
	return HAL_GPIO_ReadPin(GPIO1_GPIO_Port, GPIO1_Pin);
}

void si4463MenuDisplay(void)
{
	printf("============== Command Menu ============== \r\n");
	printf("Display the command menu -----------> help \r\n");
	printf("Power on reset si4463 chip ---------> reset \r\n");
	printf("Initialize si4463 configuration ----> init \r\n");
	printf("Communicate to si4463 with NOP -----> nop \r\n");
	printf("Transmit packets -------------------> tx  [string] \r\n");
	printf("Send the most recently sent data ---> contx \r\n");
	printf("Start to receive packets -----------> rx \r\n");
	printf("Basic information about si4463 -----> get part \r\n");
	printf("Function revision information ------> get func \r\n");
	printf("Obtain the current RSSI ------------> get curRSSI \r\n");
	printf("Get RSSI when receiving signal -----> get latRSSI \r\n");
	printf("Get the status of all interrupts ---> get ints \r\n");
	printf("Set the transmission power ---------> set txpwr    [0-127] \r\n");
	printf("Get the transmission power ---------> get txpwr \r\n");
	printf("Set the preamble number ------------> set preamble [5-255] \r\n");
	printf("Get the preamble number ------------> get preamble \r\n");
	printf("Set the syncwords ------------------> set syncword [TBD] \r\n");
	printf("Get the syncwords ------------------> get syncword \r\n");
	printf("Set the CRC polynomial -------------> set crc      [0-9] \r\n");
	printf("Get the CRC polynomial/seed --------> get crc \r\n");
	printf("Set TX/RX frequency ----------------> set freq     [Hz] \r\n");
	printf("Get TX/RX frequency ----------------> get freq \r\n");
	printf("Set the TX modulation --------------> set txmod    [0-2] \r\n");
	printf("Set the RX modulation --------------> set rxmod    [0-2] \r\n");
	printf("Get the TX modulation --------------> get mod \r\n");
	printf("Set the TX data rate ---------------> set txdr     [0-3] \r\n");
	printf("Set the RX data rate ---------------> set rxdr     [0-3] \r\n");
	printf("Get the TX data rate ---------------> get dr \r\n");
}

void initHashTable(void)
{
	// define the function pointer
	HT_malloc = &malloc;
	HT_free = &free;
	// select commands
	ht = HT_createTable(50);
	HT_insertItem(ht, "help",    0);
	HT_insertItem(ht, "reset",   1);
	HT_insertItem(ht, "init",    2);
	HT_insertItem(ht, "nop",     3);
	HT_insertItem(ht, "part",    4);
	HT_insertItem(ht, "func",    5);
	HT_insertItem(ht, "curRSSI", 6);
	HT_insertItem(ht, "latRSSI", 7);
	HT_insertItem(ht, "ints",    10);
	HT_insertItem(ht, "tx",      11);
	HT_insertItem(ht, "rx",      12);
	HT_insertItem(ht, "txpwr",   13);
	HT_insertItem(ht, "preamble",14);
	HT_insertItem(ht, "contx",   15);
	HT_insertItem(ht, "syncword",20);
	HT_insertItem(ht, "crc",     30);
	HT_insertItem(ht, "freq",    31);
	HT_insertItem(ht, "mod",     32);
	HT_insertItem(ht, "dr",      33);
	HT_insertItem(ht, "crcpoly", 34);
	HT_insertItem(ht, "crcseed", 35);
	HT_insertItem(ht, "txmod",   36);
	HT_insertItem(ht, "rxmod",   37);
	HT_insertItem(ht, "txdr",    38);
	HT_insertItem(ht, "rxdr",    39);
	HT_insertItem(ht, "get",     50);
	HT_insertItem(ht, "set",     51);
	HT_print(ht);

	printf("Search Key %s: Value %d \r\n", "check", HT_searchKey(ht, "check"));
}

void morse_resetToNow(timerange_t* time)
{
	time->stamp = __HAL_TIM_GET_COUNTER(&htim2);
}

uint32_t morse_millisecondsElapsed(timerange_t* time)
{
	uint32_t current = __HAL_TIM_GET_COUNTER(&htim2);
	if(time->stamp < current)
	{
		return current - time->stamp;
	}
	// unsigned integer overflow
	else
	{
		return UINT32_MAX - (time->stamp - current);
	}
}

uint32_t morse_secondsElapsed(timerange_t* time)
{
	return morse_millisecondsElapsed(time)/1000;
}

/* USER CODE END 4 */

void Error_Handler(void)
{
  __disable_irq();
  while (1)
  {
  }
}
